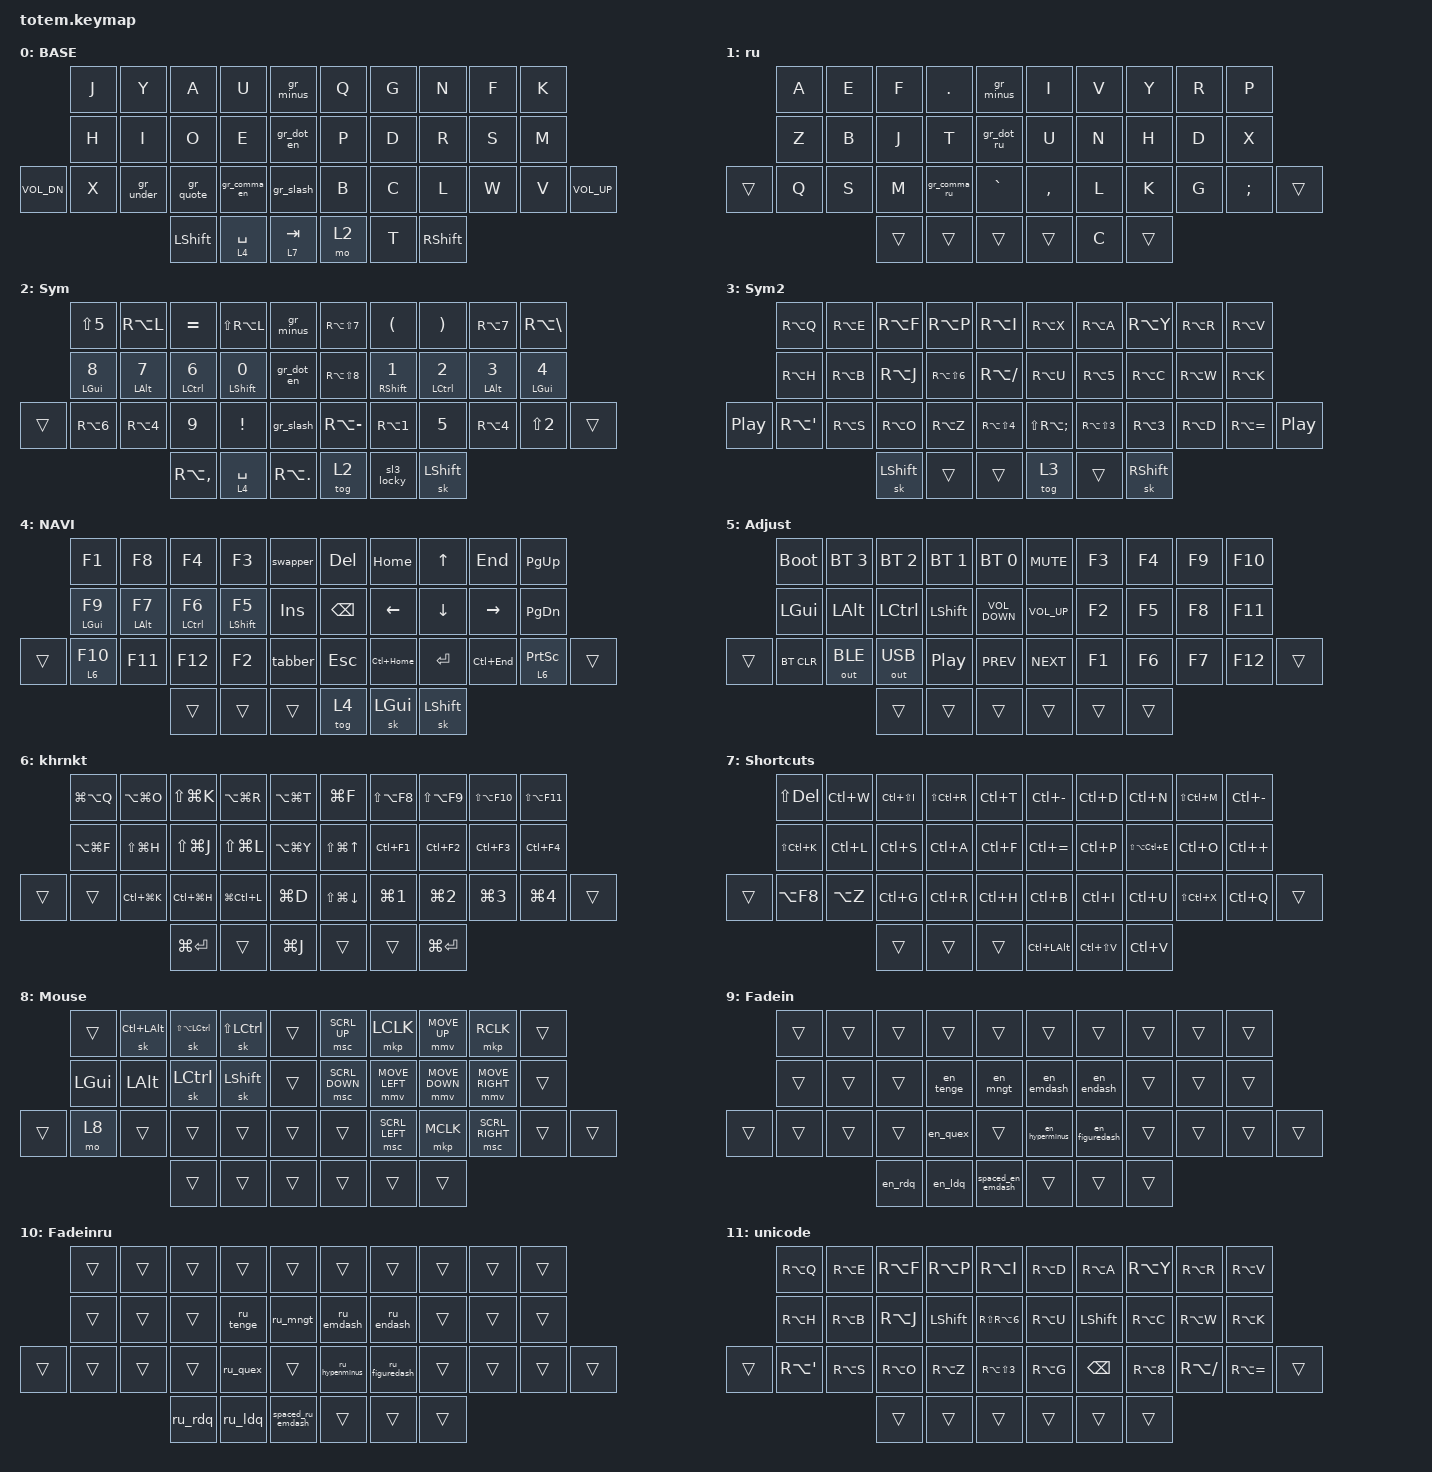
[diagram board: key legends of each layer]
//                                                        █   █  █  █   █  █  █   █  █  █   █
//                                                         ▀▀▀   █   ▀▀▀   █   ▀▀▀   ▀   ▀▀▀
//                                                               █      ▄▄▄█▄▄▄    █   █  
//                                                               ▀      █  █  █     █▄█
//                                                             ▀▀▀▀▀    █  █  █      ▀
//                                                                      ▀  ▀  ▀
//
// ▄▄▄▄▄▄▄▄▄▄▄▄▄▄▄▄▄▄▄▄▄▄▄▄▄▄▄▄▄▄▄▄▄▄▄▄▄▄▄▄▄▄▄▄▄▄▄▄▄▄▄▄▄▄▄▄▄▄▄▄▄▄▄▄▄▄▄▄▄▄▄▄▄▄▄▄▄▄▄▄▄▄▄▄▄▄▄▄▄▄▄▄▄▄▄▄▄▄▄▄▄▄▄▄▄▄▄▄▄▄▄▄▄▄▄▄▄▄▄▄▄▄▄▄▄▄▄▄▄▄▄▄▄▄▄▄▄▄▄▄▄▄▄▄▄▄▄▄▄

#include <behaviors.dtsi>
#include <dt-bindings/zmk/bt.h>
#include <dt-bindings/zmk/keys.h>
#include <dt-bindings/zmk/outputs.h>
#include <dt-bindings/zmk/pointing.h>

#define BASE 0
#define NAV  1
#define SYM  2
#define ADJ  3
#define TVP1 4
#define TVP2 5

&mt {
    quick-tap-ms = <100>;
    global-quick-tap;
    flavor = "tap-preferred";
    tapping-term-ms = <170>;
};

/ {
    behaviors {
        rus_caps_word: rus_caps_word {
            compatible = "zmk,behavior-russian-capsword";
            #binding-cells = <0>;
            continue-list = <MINUS BACKSPACE DELETE>;
        };

        swapper: swapper {
            compatible = "zmk,behavior-tri-state";
            label = "SWAPPER";
            #binding-cells = <0>;
            bindings = <&kt LALT>, <&kp TAB>, <&kt LALT>;

            ignored-key-positions = <17>, <7>, <37>;
        };

        tabber: tabber {
            compatible = "zmk,behavior-tri-state";
            label = "TABBER";
            #binding-cells = <0>;
            bindings = <&kt LCTL>, <&kp TAB>, <&kt LCTL>;

            ignored-key-positions = <17>, <7>, <37>;
        };

        hml: hrm_left {
            compatible = "zmk,behavior-hold-tap";
            bindings = <&kp>, <&kp>;

            #binding-cells = <2>;
            tapping-term-ms = <170>;
            quick-tap-ms = <125>;
            require-prior-idle-ms = <150>;
            flavor = "balanced";
            hold-trigger-on-release;
            hold-trigger-key-positions = <5 6 7 8 9 31 30 19 18 17 28 16 15 29 27 26 37 36 35>;
        };

        hmr: hrm_right {
            compatible = "zmk,behavior-hold-tap";
            bindings = <&kp>, <&kp>;

            #binding-cells = <2>;
            tapping-term-ms = <170>;
            quick-tap-ms = <125>;
            require-prior-idle-ms = <150>;
            flavor = "balanced";
            hold-trigger-on-release;
            hold-trigger-key-positions = <20 10 22 23 25 24 21 32 33 34 14 13 12 11 0 1 2 3 4>;
        };

        arc_en_left: arc_en_left {
            compatible = "zmk,behavior-adaptive-key";
            #binding-cells = <0>;
            bindings = <&key_repeat>;

            akt_zr {
                trigger-keys = <Z>;
                max-prior-idle-ms = <1000>;
                bindings = <&kp R>;
            };

            akt_jj {
                trigger-keys = <J>;
                max-prior-idle-ms = <1000>;
                bindings = <&kp J>;
            };

            akt_yy {
                trigger-keys = <Y>;
                max-prior-idle-ms = <1000>;
                bindings = <&kp Y>;
            };

            akt_aa {
                trigger-keys = <A>;
                max-prior-idle-ms = <1000>;
                bindings = <&kp A>;
            };

            akt_uu {
                trigger-keys = <U>;
                max-prior-idle-ms = <1000>;
                bindings = <&kp U>;
            };

            akt_mnmn {
                trigger-keys = <MINUS>;
                max-prior-idle-ms = <1000>;
                bindings = <&kp MINUS>;
            };

            akt_lprn {
                trigger-keys = <LPAR>;
                max-prior-idle-ms = <1000>;
                bindings = <&kp LPAR>;
            };

            akt_qu {
                trigger-keys = <Q>;
                max-prior-idle-ms = <1000>;
                bindings = <&kp U>;
            };

            akt_lbrb {
                trigger-keys = <LBKT>;
                max-prior-idle-ms = <1000>;
                bindings = <&kp RBKT>;
            };

            akt_tr {
                trigger-keys = <T>;
                max-prior-idle-ms = <1000>;
                bindings = <&kp R>;
            };

            akt_gh {
                trigger-keys = <G>;
                max-prior-idle-ms = <1000>;
                bindings = <&kp H>;
            };

            akt_nl {
                trigger-keys = <N>;
                max-prior-idle-ms = <1000>;
                bindings = <&kp L>;
            };

            akt_fw {
                trigger-keys = <F>;
                max-prior-idle-ms = <1000>;
                bindings = <&kp W>;
            };

            akt_king {
                trigger-keys = <K>;
                max-prior-idle-ms = <1000>;
                bindings = <&ing>;
            };

            akt_hh {
                trigger-keys = <H>;
                max-prior-idle-ms = <1000>;
                bindings = <&kp H>;
            };

            akt_ii {
                trigger-keys = <I>;
                max-prior-idle-ms = <1000>;
                bindings = <&kp I>;
            };

            akt_oo {
                trigger-keys = <O>;
                max-prior-idle-ms = <1000>;
                bindings = <&kp O>;
            };

            akt_ee {
                trigger-keys = <E>;
                max-prior-idle-ms = <1000>;
                bindings = <&kp E>;
            };

            akt_dotdot {
                trigger-keys = <DOT>;
                max-prior-idle-ms = <1000>;
                bindings = <&kp DOT>;
            };

            akt_scsc {
                trigger-keys = <SEMICOLON>;
                max-prior-idle-ms = <1000>;
                bindings = <&kp SEMICOLON>;
            };

            akt_pb {
                trigger-keys = <P>;
                max-prior-idle-ms = <1000>;
                bindings = <&kp B>;
            };

            akt_dg {
                trigger-keys = <D>;
                max-prior-idle-ms = <1000>;
                bindings = <&kp G>;
            };

            akt_rn {
                trigger-keys = <R>;
                max-prior-idle-ms = <1000>;
                bindings = <&kp N>;
            };

            akt_sw {
                trigger-keys = <S>;
                max-prior-idle-ms = <1000>;
                bindings = <&kp W>;
            };

            akt_mv {
                trigger-keys = <M>;
                max-prior-idle-ms = <1000>;
                bindings = <&kp V>;
            };

            akt_xh {
                trigger-keys = <X>;
                max-prior-idle-ms = <1000>;
                bindings = <&kp H>;
            };

            akt_br {
                trigger-keys = <B>;
                max-prior-idle-ms = <1000>;
                bindings = <&kp R>;
            };

            akt_ck {
                trigger-keys = <C>;
                max-prior-idle-ms = <1000>;
                bindings = <&kp K>;
            };

            akt_ln {
                trigger-keys = <L>;
                max-prior-idle-ms = <1000>;
                bindings = <&kp N>;
            };

            akt_ws {
                trigger-keys = <W>;
                max-prior-idle-ms = <1000>;
                bindings = <&kp S>;
            };

            akt_vm {
                trigger-keys = <V>;
                max-prior-idle-ms = <1000>;
                bindings = <&kp M>;
            };
        };

        arc_ru_left: arc_ru_left {
            compatible = "zmk,behavior-adaptive-key";
            #binding-cells = <0>;
            bindings = <&key_repeat>;

            akt_yaya {
                trigger-keys = <Z>;
                max-prior-idle-ms = <1000>;
                bindings = <&kp Z>;
            };

            akt_gd {
                trigger-keys = <U>;
                max-prior-idle-ms = <1000>;
                bindings = <&kp L>;
            };

            akt_oo {
                trigger-keys = <J>;
                max-prior-idle-ms = <1000>;
                bindings = <&kp J>;
            };

            akt_nr {
                trigger-keys = <Y>;
                max-prior-idle-ms = <1000>;
                bindings = <&kp R>;
            };

            akt_ff {
                trigger-keys = <A>;
                max-prior-idle-ms = <1000>;
                bindings = <&kp A>;
            };

            akt_apap {
                trigger-keys = <APOS>;
                max-prior-idle-ms = <1000>;
                bindings = <&kp APOS>;
            };

            akt_mnmn {
                trigger-keys = <MINUS>;
                max-prior-idle-ms = <1000>;
                bindings = <&kp MINUS>;
            };

            akt_lprn {
                trigger-keys = <LPAR>;
                max-prior-idle-ms = <1000>;
                bindings = <&kp LPRN>;
            };

            akt_yy {
                trigger-keys = <Q>;
                max-prior-idle-ms = <1000>;
                bindings = <&kp Q>;
            };

            akt_khr {
                trigger-keys = <LBKT>;
                max-prior-idle-ms = <1000>;
                bindings = <&kp H>;
            };

            akt_ee {
                trigger-keys = <T>;
                max-prior-idle-ms = <1000>;
                bindings = <&kp T>;
            };

            akt_pn {
                trigger-keys = <G>;
                max-prior-idle-ms = <1000>;
                bindings = <&kp Y>;
            };

            akt_tm {
                trigger-keys = <N>;
                max-prior-idle-ms = <1000>;
                bindings = <&kp V>;
            };

            akt_aa {
                trigger-keys = <F>;
                max-prior-idle-ms = <1000>;
                bindings = <&kp F>;
            };

            akt_ln {
                trigger-keys = <K>;
                max-prior-idle-ms = <1000>;
                bindings = <&kp Y>;
            };

            akt_rn {
                trigger-keys = <H>;
                max-prior-idle-ms = <1000>;
                bindings = <&kp Y>;
            };

            akt_sht {
                trigger-keys = <I>;
                max-prior-idle-ms = <1000>;
                bindings = <&kp N>;
            };

            akt_schn {
                trigger-keys = <O>;
                max-prior-idle-ms = <1000>;
                bindings = <&kp Y>;
            };

            akt_uu {
                trigger-keys = <E>;
                max-prior-idle-ms = <1000>;
                bindings = <&kp E>;
            };

            akt_dotdot {
                trigger-keys = <SLASH>;
                max-prior-idle-ms = <1000>;
                bindings = <&kp SLASH>;
            };

            akt_yuyu {
                trigger-keys = <DOT>;
                max-prior-idle-ms = <1000>;
                bindings = <&kp DOT>;
            };

            akt_zhch {
                trigger-keys = <SEMICOLON>;
                max-prior-idle-ms = <1000>;
                bindings = <&kp X>;
            };

            akt_zzh {
                trigger-keys = <P>;
                max-prior-idle-ms = <1000>;
                bindings = <&kp SEMICOLON>;
            };

            akt_vk {
                trigger-keys = <D>;
                max-prior-idle-ms = <1000>;
                bindings = <&kp R>;
            };

            akt_kp {
                trigger-keys = <R>;
                max-prior-idle-ms = <1000>;
                bindings = <&kp G>;
            };

            akt_yiyi {
                trigger-keys = <S>;
                max-prior-idle-ms = <1000>;
                bindings = <&kp S>;
            };

            akt__ {
                trigger-keys = <M>;
                max-prior-idle-ms = <1000>;
                bindings = <&kp M>;
            };

            akt_chzh {
                trigger-keys = <X>;
                max-prior-idle-ms = <1000>;
                bindings = <&kp SEMICOLON>;
            };

            akt_bsch {
                trigger-keys = <COMMA>;
                max-prior-idle-ms = <1000>;
                bindings = <&kp O>;
            };

            akt_ii {
                trigger-keys = <B>;
                max-prior-idle-ms = <1000>;
                bindings = <&kp B>;
            };

            akt_st {
                trigger-keys = <C>;
                max-prior-idle-ms = <1000>;
                bindings = <&kp N>;
            };

            akt_dn {
                trigger-keys = <L>;
                max-prior-idle-ms = <1000>;
                bindings = <&kp Y>;
            };

            akt_tzm {
                trigger-keys = <W>;
                max-prior-idle-ms = <1000>;
                bindings = <&kp V>;
            };

            akt_mb {
                trigger-keys = <V>;
                max-prior-idle-ms = <1000>;
                bindings = <&kp COMMA>;
            };
        };

        arc_en_right: arc_en_right {
            compatible = "zmk,behavior-adaptive-key";
            #binding-cells = <0>;
            bindings = <&key_repeat>;

            akt_zz {
                trigger-keys = <Z>;
                max-prior-idle-ms = <1000>;
                bindings = <&kp Z>;
            };

            akt_ju {
                trigger-keys = <J>;
                max-prior-idle-ms = <1000>;
                bindings = <&kp U>;
            };

            akt_yi {
                trigger-keys = <Y>;
                max-prior-idle-ms = <1000>;
                bindings = <&kp I>;
            };

            akt_ao {
                trigger-keys = <A>;
                max-prior-idle-ms = <1000>;
                bindings = <&kp O>;
            };

            akt_ue {
                trigger-keys = <U>;
                max-prior-idle-ms = <1000>;
                bindings = <&kp E>;
            };

            akt_mngt {
                trigger-keys = <MINUS>;
                max-prior-idle-ms = <1000>;
                bindings = <&kp GT>;
            };

            akt_lprn {
                trigger-keys = <LPAR>;
                max-prior-idle-ms = <1000>;
                bindings = <&kp RPAR>;
            };

            akt_qq {
                trigger-keys = <Q>;
                max-prior-idle-ms = <1000>;
                bindings = <&kp Q>;
            };

            akt_lblb {
                trigger-keys = <LBKT>;
                max-prior-idle-ms = <1000>;
                bindings = <&kp LBKT>;
            };

            akt_th {
                trigger-keys = <T>;
                max-prior-idle-ms = <1000>;
                bindings = <&kp H>;
            };

            akt_gg {
                trigger-keys = <G>;
                max-prior-idle-ms = <1000>;
                bindings = <&kp G>;
            };

            akt_nn {
                trigger-keys = <N>;
                max-prior-idle-ms = <1000>;
                bindings = <&kp N>;
            };

            akt_ff {
                trigger-keys = <F>;
                max-prior-idle-ms = <1000>;
                bindings = <&kp F>;
            };

            akt_kk {
                trigger-keys = <K>;
                max-prior-idle-ms = <1000>;
                bindings = <&kp K>;
            };

            akt_hy {
                trigger-keys = <H>;
                max-prior-idle-ms = <1000>;
                bindings = <&kp Y>;
            };

            akt_iy {
                trigger-keys = <I>;
                max-prior-idle-ms = <1000>;
                bindings = <&kp Y>;
            };

            akt_oa {
                trigger-keys = <O>;
                max-prior-idle-ms = <1000>;
                bindings = <&kp A>;
            };

            akt_eu {
                trigger-keys = <E>;
                max-prior-idle-ms = <1000>;
                bindings = <&kp U>;
            };

            akt_dotsp {
                trigger-keys = <DOT>;
                max-prior-idle-ms = <1000>;
                bindings = <&sp_shift>;
            };

            akt_sclp {
                trigger-keys = <SEMICOLON>;
                max-prior-idle-ms = <1000>;
                bindings = <&kp RPAR>;
            };

            akt_pp {
                trigger-keys = <P>;
                max-prior-idle-ms = <1000>;
                bindings = <&kp P>;
            };

            akt_dd {
                trigger-keys = <D>;
                max-prior-idle-ms = <1000>;
                bindings = <&kp D>;
            };

            akt_rr {
                trigger-keys = <R>;
                max-prior-idle-ms = <1000>;
                bindings = <&kp R>;
            };

            akt_ss {
                trigger-keys = <S>;
                max-prior-idle-ms = <1000>;
                bindings = <&kp S>;
            };

            akt_mm {
                trigger-keys = <M>;
                max-prior-idle-ms = <1000>;
                bindings = <&kp M>;
            };

            akt_xh {
                trigger-keys = <X>;
                max-prior-idle-ms = <1000>;
                bindings = <&kp H>;
            };

            akt_bb {
                trigger-keys = <B>;
                max-prior-idle-ms = <1000>;
                bindings = <&kp B>;
            };

            akt_cc {
                trigger-keys = <C>;
                max-prior-idle-ms = <1000>;
                bindings = <&kp C>;
            };

            akt_ll {
                trigger-keys = <L>;
                max-prior-idle-ms = <1000>;
                bindings = <&kp L>;
            };

            akt_ww {
                trigger-keys = <W>;
                max-prior-idle-ms = <1000>;
                bindings = <&kp W>;
            };

            akt_vv {
                trigger-keys = <V>;
                max-prior-idle-ms = <1000>;
                bindings = <&kp V>;
            };
        };

        arc_ru_right: arc_ru_right {
            compatible = "zmk,behavior-adaptive-key";
            #binding-cells = <0>;
            bindings = <&key_repeat>;

            akt_yay {
                trigger-keys = <Z>;
                max-prior-idle-ms = <1000>;
                bindings = <&kp Q>;
            };

            akt_oa {
                trigger-keys = <J>;
                max-prior-idle-ms = <1000>;
                bindings = <&kp F>;
            };

            akt_nn {
                trigger-keys = <Y>;
                max-prior-idle-ms = <1000>;
                bindings = <&kp Y>;
            };

            akt_fya {
                trigger-keys = <A>;
                max-prior-idle-ms = <1000>;
                bindings = <&kp Z>;
            };

            akt_apa {
                trigger-keys = <APOS>;
                max-prior-idle-ms = <1000>;
                bindings = <&kp F>;
            };

            akt_mnsp {
                trigger-keys = <MINUS>;
                max-prior-idle-ms = <1000>;
                bindings = <&kp SPACE>;
            };

            akt_lprn {
                trigger-keys = <LPAR>;
                max-prior-idle-ms = <1000>;
                bindings = <&kp RPAR>;
            };

            akt_yf {
                trigger-keys = <Q>;
                max-prior-idle-ms = <1000>;
                bindings = <&kp A>;
            };

            akt_khkh {
                trigger-keys = <LBKT>;
                max-prior-idle-ms = <1000>;
                bindings = <&kp LBKT>;
            };

            akt_edot {
                trigger-keys = <T>;
                max-prior-idle-ms = <1000>;
                bindings = <&kp SLASH>;
            };

            akt_pp {
                trigger-keys = <G>;
                max-prior-idle-ms = <1000>;
                bindings = <&kp G>;
            };

            akt_tt {
                trigger-keys = <N>;
                max-prior-idle-ms = <1000>;
                bindings = <&kp N>;
            };

            akt_ao {
                trigger-keys = <F>;
                max-prior-idle-ms = <1000>;
                bindings = <&kp J>;
            };

            akt_ll {
                trigger-keys = <K>;
                max-prior-idle-ms = <1000>;
                bindings = <&kp K>;
            };

            akt_rr {
                trigger-keys = <H>;
                max-prior-idle-ms = <1000>;
                bindings = <&kp H>;
            };

            akt_shsh {
                trigger-keys = <I>;
                max-prior-idle-ms = <1000>;
                bindings = <&kp I>;
            };

            akt_schn {
                trigger-keys = <O>;
                max-prior-idle-ms = <1000>;
                bindings = <&kp Y>;
            };

            akt_ui {
                trigger-keys = <E>;
                max-prior-idle-ms = <1000>;
                bindings = <&kp B>;
            };

            akt_dotsp {
                trigger-keys = <SLASH>;
                max-prior-idle-ms = <1000>;
                bindings = <&sp_shift>;
            };

            akt_yuzp {
                trigger-keys = <DOT>;
                max-prior-idle-ms = <1000>;
                bindings = <&comma_sp_ru>;
            };

            akt_zhzh {
                trigger-keys = <SEMICOLON>;
                max-prior-idle-ms = <1000>;
                bindings = <&kp SEMICOLON>;
            };

            akt_zz {
                trigger-keys = <P>;
                max-prior-idle-ms = <1000>;
                bindings = <&kp P>;
            };

            akt_vv {
                trigger-keys = <D>;
                max-prior-idle-ms = <1000>;
                bindings = <&kp D>;
            };

            akt_kk {
                trigger-keys = <R>;
                max-prior-idle-ms = <1000>;
                bindings = <&kp R>;
            };

            akt_yii {
                trigger-keys = <S>;
                max-prior-idle-ms = <1000>;
                bindings = <&kp B>;
            };

            akt__yiyu {
                trigger-keys = <M>;
                max-prior-idle-ms = <1000>;
                bindings = <&kp DOT>;
            };

            akt_chch {
                trigger-keys = <X>;
                max-prior-idle-ms = <1000>;
                bindings = <&kp X>;
            };

            akt_bb {
                trigger-keys = <COMMA>;
                max-prior-idle-ms = <1000>;
                bindings = <&kp COMMA>;
            };

            akt_iu {
                trigger-keys = <B>;
                max-prior-idle-ms = <1000>;
                bindings = <&kp E>;
            };

            akt_st {
                trigger-keys = <C>;
                max-prior-idle-ms = <1000>;
                bindings = <&kp T>;
            };

            akt_dd {
                trigger-keys = <L>;
                max-prior-idle-ms = <1000>;
                bindings = <&kp L>;
            };

            akt_tztz {
                trigger-keys = <W>;
                max-prior-idle-ms = <1000>;
                bindings = <&kp W>;
            };

            akt_mm {
                trigger-keys = <V>;
                max-prior-idle-ms = <1000>;
                bindings = <&kp V>;
            };
        };

        arcane_left_en: arcane_left_en {
            compatible = "zmk,behavior-hold-tap";
            label = "ARCANE_LEFT_EN";
            bindings = <&kp>, <&arc_en_left>;

            #binding-cells = <2>;
            tapping-term-ms = <200>;
            flavor = "balanced";
        };

        arcane_left_ru: arcane_left_ru {
            compatible = "zmk,behavior-hold-tap";
            label = "ARCANE_LEFT_RU";
            bindings = <&kp>, <&arc_ru_left>;

            #binding-cells = <2>;
            tapping-term-ms = <200>;
            flavor = "balanced";
        };

        arcane_right_en: arcane_right_en {
            compatible = "zmk,behavior-hold-tap";
            label = "ARCANE_RIGHT_EN";
            bindings = <&kp>, <&arc_en_right>;

            #binding-cells = <2>;
            tapping-term-ms = <200>;
            flavor = "balanced";
        };

        arcane_right_ru: arcane_right_ru {
            compatible = "zmk,behavior-hold-tap";
            label = "ARCANE_RIGHT_RU";
            bindings = <&kp>, <&arc_ru_right>;

            #binding-cells = <2>;
            tapping-term-ms = <200>;
            flavor = "balanced";
        };

        layer_sft: layer_sft {
            compatible = "zmk,behavior-hold-tap";
            label = "LAYER_SFT";
            bindings = <&mo>, <&sk>;

            #binding-cells = <2>;
            tapping-term-ms = <200>;
        };

        gr_dot_en: gr_dot_en {
            compatible = "zmk,behavior-mod-morph";
            label = "GR_DOT_EN";
            bindings = <&kp RA(LS(C))>, <&kp RA(LS(SQT))>;

            #binding-cells = <0>;
            mods = <(MOD_LSFT|MOD_RSFT)>;
        };

        gr_dot_ru: gr_dot_ru {
            compatible = "zmk,behavior-mod-morph";
            label = "GR_DOT_RU";
            bindings = <&kp SLASH>, <&gm_dot_space_shift>;

            #binding-cells = <0>;
            mods = <(MOD_LSFT|MOD_RSFT)>;
        };

        gr_comma_en: gr_comma_en {
            compatible = "zmk,behavior-mod-morph";
            label = "GR_COMMA_EN";
            bindings = <&gm_commaspace_en>, <&kp RA(LS(N5))>;

            #binding-cells = <0>;
            mods = <(MOD_LSFT|MOD_RSFT)>;
        };

        gr_comma_ru: gr_comma_ru {
            compatible = "zmk,behavior-mod-morph";
            label = "GR_COMMA_RU";
            bindings = <&gm_commaspace_ru>, <&kp RA(LS(N5))>;

            #binding-cells = <0>;
            mods = <(MOD_LSFT|MOD_RSFT)>;
        };

        gr_minus: gr_minus {
            compatible = "zmk,behavior-mod-morph";
            label = "GR_MINUS";
            bindings = <&kp MINUS>, <&kp KP_PLUS>;

            #binding-cells = <0>;
            mods = <(MOD_LSFT|MOD_RSFT)>;
        };

        gr_slash: gr_slash {
            compatible = "zmk,behavior-mod-morph";
            label = "GR_SLASH";
            bindings = <&kp RA(LS(BACKSLASH))>, <&kp ASTERISK>;

            #binding-cells = <0>;
            mods = <(MOD_LSFT|MOD_RSFT)>;
        };

        gr_quote: gr_quote {
            compatible = "zmk,behavior-mod-morph";
            label = "GR_QUOTE";
            bindings = <&kp RA(NUMBER_2)>, <&kp RA(GRAVE)>;

            #binding-cells = <0>;
            mods = <(MOD_LSFT|MOD_RSFT)>;
        };

        gr_under: gr_under {
            compatible = "zmk,behavior-mod-morph";
            label = "GR_UNDER";
            bindings = <&kp UNDERSCORE>, <&kp BSLH>;

            #binding-cells = <0>;
            mods = <(MOD_LSFT|MOD_RSFT)>;
        };

        gr_sqp: gr_sqp {
            compatible = "zmk,behavior-mod-morph";
            label = "GR_SQP";
            bindings = <&kp RA(LEFT_BRACKET)>, <&kp RA(RIGHT_BRACKET)>;

            #binding-cells = <0>;
            mods = <(MOD_LSFT|MOD_RSFT)>;
        };

        line_down_ctrl: line_down_ctrl {
            compatible = "zmk,behavior-hold-tap";
            label = "LINE_DOWN_CTRL";
            bindings = <&kp>, <&new_line_down>;

            #binding-cells = <2>;
            flavor = "balanced";
            tapping-term-ms = <170>;
            quick-tap-ms = <125>;
            require-prior-idle-ms = <150>;
        };

        cut_string_alt: cut_string_alt {
            compatible = "zmk,behavior-hold-tap";
            label = "CUT_STRING_ALT";
            bindings = <&kp>, <&cut_string>;

            #binding-cells = <2>;
            tapping-term-ms = <170>;
            quick-tap-ms = <125>;
            require-prior-idle-ms = <150>;
            flavor = "balanced";
        };

        smc_comma: smc_comma {
            compatible = "zmk,behavior-mod-morph";
            label = "SMC_COMMA";
            bindings = <&kp RA(LS(N8))>, <&kp RA(LS(NUMBER_5))>;

            #binding-cells = <0>;
            mods = <(MOD_LSFT|MOD_RSFT)>;
        };

        sl2_locky: sl2_locky {
            compatible = "zmk,behavior-tap-dance";
            label = "SL2_LOCKY";
            #binding-cells = <0>;
            bindings = <&sl 2>, <&tog 2>;

            tapping-term-ms = <300>;
        };

        sl3_locky: sl3_locky {
            compatible = "zmk,behavior-tap-dance";
            label = "SL3_LOCKY";
            #binding-cells = <0>;
            bindings = <&sl 3>, <&tog 3>;

            tapping-term-ms = <300>;
        };
    };

    combos {
        compatible = "zmk,combos";

        kha {
            bindings = <&kp RA(LBKT)>;
            key-positions = <6 7>;
            layers = <0 3 2>;
        };

        hrdsgn {
            bindings = <&kp RA(RBKT)>;
            key-positions = <7 8>;
            layers = <0 3 2>;
        };

        TO_RU {
            bindings = <&KB_RU>;
            key-positions = <28 29>;
            layers = <0>;
        };

        TO_EN {
            bindings = <&KB_EN>;
            key-positions = <28 29>;
            layers = <1>;
        };

        z {
            bindings = <&kp Z>;
            key-positions = <16 17>;
            layers = <0>;
        };

        undr {
            bindings = <&gr_under>;
            key-positions = <13 14>;
            layers = <1>;
        };

        rusinch {
            bindings = <&gr_quote>;
            key-positions = <7 8>;
            layers = <1>;
        };

        to_sym2 {
            bindings = <&mo 3>;
            key-positions = <32 33>;
            layers = <0 1 2>;
        };

        th_gui {
            bindings = <&sk LEFT_GUI>;
            key-positions = <33 34>;
            layers = <0 1 2>;
        };

        en_lbr {
            bindings = <&kp LEFT_BRACE>;
            key-positions = <16 6>;
            layers = <0 3 2>;
        };

        en_rbr {
            bindings = <&kp RIGHT_BRACE>;
            key-positions = <17 7>;
            layers = <0 3 2>;
        };

        ru_rbrc {
            bindings = <&kp RA(LEFT_BRACKET)>;
            key-positions = <17 7>;
            layers = <1>;
        };

        ru_lbrc {
            bindings = <&kp RA(RIGHT_BRACKET)>;
            key-positions = <16 6>;
            layers = <1>;
        };

        ru_tz {
            bindings = <&kp W>;
            key-positions = <16 17>;
            layers = <1>;
        };

        ru_sl {
            bindings = <&gr_slash>;
            key-positions = <24 25>;
            layers = <1>;
        };

        c_s {
            bindings = <&kp LC(S)>;
            key-positions = <13 12>;
        };

        c_c {
            bindings = <&kp LC(C)>;
            key-positions = <13 3>;
        };

        c_x {
            bindings = <&kp LC(X)>;
            key-positions = <14 4>;
        };

        c_v {
            bindings = <&kp LC(V)>;
            key-positions = <12 2>;
        };

        kh {
            bindings = <&kp LEFT_BRACKET>;
            key-positions = <6 7>;
            layers = <1>;
        };

        c_z {
            bindings = <&kp LC(Z)>;
            key-positions = <23 24>;
        };

        cs_z {
            bindings = <&kp LS(LC(Z))>;
            key-positions = <22 23>;
        };

        rth_ctrl {
            bindings = <&kp LCTRL>;
            key-positions = <35 36>;
            layers = <0 1 4>;
        };

        rth_alt {
            bindings = <&kp LALT>;
            key-positions = <37 36>;
            layers = <0 1 4>;
        };

        ye {
            bindings = <&kp SQT>;
            key-positions = <3 2>;
            layers = <1>;
        };

        ru_sch {
            bindings = <&kp RIGHT_BRACKET>;
            key-positions = <17 18>;
            layers = <1>;
        };

        ru_sch2 {
            bindings = <&kp O>;
            key-positions = <27 28>;
            layers = <1>;
        };

        mrck2 {
            bindings = <&mkp RCLK>;
            key-positions = <12 23>;
        };

        mmck {
            bindings = <&mkp MCLK>;
            key-positions = <12 24>;
        };

        mlcck {
            bindings = <&mkp LCLK>;
            key-positions = <24 13>;
        };

        CtrlEnter {
            bindings = <&kp LC(ENTER)>;
            key-positions = <27 28 29>;
            layers = <4>;
        };

        Ralt1 {
            bindings = <&kp RALT>;
            key-positions = <14 25>;
        };

        Ralt2 {
            bindings = <&kp RALT>;
            key-positions = <15 26>;
        };

        not_equal {
            bindings = <&not_equal_macro>;
            key-positions = <5 15>;
        };

        fadein_en {
            bindings = <&sl 9>;
            key-positions = <26 27>;
            layers = <0>;
        };

        fadein_ru {
            bindings = <&sl 10>;
            key-positions = <26 27>;
        };

        ShiftEnter {
            bindings = <&kp LC(ENTER)>;
            key-positions = <27 28>;
            layers = <4>;
        };

        cpswrd {
            bindings = <&caps_word>;
            key-positions = <35 34>;
            layers = <0>;
        };

        cpswrd_ru {
            bindings = <&rus_caps_word>;
            key-positions = <35 34>;
            layers = <1>;
        };

        paste_text {
            bindings = <&kp LS(LC(LA(V)))>;
            key-positions = <2 12>;
            layers = <7>;
        };

        m23 {
            bindings = <&p23>;
            key-positions = <17 18>;
            layers = <2>;
        };

        ctrl-up {
            bindings = <&kp LC(UP)>;
            key-positions = <7 17>;
            layers = <4>;
        };

        ctrl-down {
            bindings = <&kp LC(DOWN)>;
            key-positions = <17 28>;
            layers = <4>;
        };

        ctrl-left {
            bindings = <&kp LC(LEFT)>;
            key-positions = <16 17>;
            layers = <4>;
        };

        ctrl-right {
            bindings = <&kp LC(RIGHT_ARROW)>;
            key-positions = <17 18>;
            layers = <4>;
        };

        ctrl-bksp {
            bindings = <&kp LC(BACKSPACE)>;
            key-positions = <15 16>;
            layers = <4>;
        };

        to_adj_l {
            bindings = <&mo 5>;
            key-positions = <10 11>;
        };

        to_adj_r {
            bindings = <&mo 5>;
            key-positions = <18 19>;
        };

        sym_astr {
            bindings = <&kp ASTERISK>;
            key-positions = <16 17>;
            layers = <2>;
        };

        sym_tilde {
            bindings = <&kp LS(RA(GRAVE))>;
            key-positions = <15 16>;
            layers = <2>;
        };

        sym_bslsh {
            bindings = <&kp BACKSLASH>;
            key-positions = <27 28>;
            layers = <2>;
        };

        sym_plus {
            bindings = <&kp PLUS>;
            key-positions = <2 3>;
            layers = <2>;
        };

        sym_comma {
            bindings = <&kp RA(LS(N5))>;
            key-positions = <12 13>;
            layers = <2>;
        };

        sym_gr {
            bindings = <&kp RA(GRAVE)>;
            key-positions = <13 14>;
            layers = <2>;
        };
    };

    macros {
        KB_EN: KB_EN {
            compatible = "zmk,behavior-macro";
            #binding-cells = <0>;
            bindings =
                <&kp LC(LA(NUMBER_6))>,
                <&macro_wait_time 25>,
                <&to 0>,
                <&macro_wait_time 25>;

            label = "KB_EN";
        };

        KB_RU: KB_RU {
            compatible = "zmk,behavior-macro";
            #binding-cells = <0>;
            bindings =
                <&kp LC(LA(N7))>,
                <&macro_wait_time 25>,
                <&to 1>,
                <&macro_wait_time 25>;

            label = "KB_RU";
        };

        gm_commaspace_en: dotspace_en {
            compatible = "zmk,behavior-macro";
            #binding-cells = <0>;
            bindings = <&kp COMMA &kp SPACE>;
            label = "DOTSPACE_EN";
        };

        gm_commaspace_ru: dotspace_ru {
            compatible = "zmk,behavior-macro";
            #binding-cells = <0>;
            bindings = <&kp QUESTION &kp SPACE>;
            label = "DOTSPACE_RU";
        };

        ru_emdash: ru_emdash {
            compatible = "zmk,behavior-macro";
            #binding-cells = <0>;
            bindings =
                <&KB_EN>,
                <&macro_wait_time 30>,
                <&kp LS(LC(U))>,
                <&macro_wait_time 10>,
                <&kp N2 &kp N0 &kp N1 &kp N4 &kp ENTER>,
                <&macro_wait_time 30>,
                <&KB_RU>;

            label = "RU_EMDASH";
        };

        en_emdash: en_emdash {
            compatible = "zmk,behavior-macro";
            #binding-cells = <0>;
            bindings =
                <&kp LS(LC(U))>,
                <&macro_wait_time 10>,
                <&kp N2 &kp N0 &kp N1 &kp N4 &kp ENTER>,
                <&macro_wait_time 10>;

            label = "EN_EMDASH";
        };

        en_rdq: en_rdq {
            compatible = "zmk,behavior-macro";
            #binding-cells = <0>;
            bindings =
                <&kp LS(LC(U))>,
                <&macro_wait_time 10>,
                <&kp N0 &kp N0 &kp B &kp B &kp ENTER>,
                <&macro_wait_time 10>;

            label = "EN_RDQ";
        };

        ru_ldq: ru_ldq {
            compatible = "zmk,behavior-macro";
            #binding-cells = <0>;
            bindings =
                <&KB_EN>,
                <&macro_wait_time 10>,
                <&kp LS(LC(U))>,
                <&macro_wait_time 10>,
                <&kp N0 &kp N0 &kp A &kp B &kp ENTER>,
                <&macro_wait_time 10>,
                <&KB_RU>;

            label = "RU_LDQ";
        };

        ru_rdq: ru_rdq {
            compatible = "zmk,behavior-macro";
            #binding-cells = <0>;
            bindings =
                <&KB_EN>,
                <&macro_wait_time 10>,
                <&kp LS(LC(U))>,
                <&macro_wait_time 10>,
                <&kp N0 &kp N0 &kp B &kp B &kp ENTER>,
                <&macro_wait_time 10>,
                <&KB_RU>;

            label = "RU_RDQ";
        };

        en_ldq: en_ldq {
            compatible = "zmk,behavior-macro";
            #binding-cells = <0>;
            bindings =
                <&kp LS(LC(U))>,
                <&macro_wait_time 10>,
                <&kp N0 &kp N0 &kp A &kp B &kp ENTER>,
                <&macro_wait_time 10>;

            label = "EN_LDQ";
        };

        ru_lbr: ru_lbr {
            compatible = "zmk,behavior-macro";
            #binding-cells = <0>;
            bindings =
                <&KB_EN>,
                <&macro_wait_time 10>,
                <&kp LEFT_BRACE>,
                <&macro_wait_time 10>,
                <&KB_RU>;

            label = "RU_LBR";
        };

        ru_rbr: ru_rbr {
            compatible = "zmk,behavior-macro";
            #binding-cells = <0>;
            bindings =
                <&KB_EN>,
                <&macro_wait_time 10>,
                <&kp RIGHT_BRACE>,
                <&macro_wait_time 10>,
                <&KB_RU>;

            label = "RU_RBR";
        };

        en_endash: en_endash {
            compatible = "zmk,behavior-macro";
            #binding-cells = <0>;
            bindings =
                <&kp LS(LC(U))>,
                <&macro_wait_time 10>,
                <&kp NUMBER_2 &kp NUMBER_0 &kp N1 &kp NUMBER_3 &kp ENTER>,
                <&macro_wait_time 10>;

            label = "EN_ENDASH";
        };

        ru_endash: ru_endash {
            compatible = "zmk,behavior-macro";
            #binding-cells = <0>;
            bindings =
                <&KB_EN>,
                <&macro_wait_time 10>,
                <&kp LS(LC(U))>,
                <&macro_wait_time 10>,
                <&kp NUMBER_2 &kp NUMBER_0 &kp N1 &kp NUMBER_3 &kp ENTER>,
                <&macro_wait_time 10>,
                <&KB_RU>;

            label = "RU_ENDASH";
        };

        new_line_down: new_line_down {
            compatible = "zmk,behavior-macro";
            #binding-cells = <0>;
            bindings = <&kp END>, <&macro_wait_time 0>, <&kp LS(ENTER)>;

            label = "NEW_LINE_DOWN";
        };

        new_line_up: new_line_up {
            compatible = "zmk,behavior-macro";
            #binding-cells = <0>;
            bindings = <&kp HOME>, <&macro_wait_time 0>, <&kp LS(ENTER)>;

            label = "NEW_LINE_UP";
        };

        cut_string: cut_string {
            compatible = "zmk,behavior-macro";
            #binding-cells = <0>;
            bindings =
                <&kp HOME>,
                <&macro_wait_time 0>,
                <&kp LS(DOWN)>,
                <&macro_wait_time 0>,
                <&kp LC(X)>;

            label = "CUT_STRING";
        };

        copy_string: copy_string {
            compatible = "zmk,behavior-macro";
            #binding-cells = <0>;
            bindings =
                <&kp HOME>,
                <&macro_wait_time 0>,
                <&kp LS(DOWN)>,
                <&macro_wait_time 0>,
                <&kp LC(C)>;

            label = "COPY_STRING";
        };

        sp_shift: sp_shift {
            compatible = "zmk,behavior-macro";
            #binding-cells = <0>;
            bindings = <&kp SPACE>, <&macro_wait_time 5>, <&sk LEFT_SHIFT>;

            label = "SP_SHIFT";
        };

        comma_sp_ru: comma_sp_ru {
            compatible = "zmk,behavior-macro";
            #binding-cells = <0>;
            bindings = <&kp QUESTION>, <&macro_wait_time 5>, <&kp SPACE>;

            label = "COMMA_SPACE_RU";
        };

        ing: ing {
            compatible = "zmk,behavior-macro";
            #binding-cells = <0>;
            bindings = <&kp I &kp N &kp G>;
            label = "ING";
        };

        ru_hypenminus: ru_hypenminus {
            compatible = "zmk,behavior-macro";
            #binding-cells = <0>;
            bindings =
                <&KB_EN>,
                <&macro_wait_time 30>,
                <&kp LS(LC(U))>,
                <&macro_wait_time 10>,
                <&kp N0 &kp N0 &kp NUMBER_2 &kp D &kp ENTER>,
                <&macro_wait_time 30>,
                <&KB_RU>;

            label = "RU_HYPENMINUS";
        };

        en_hyperminus: en_hyperminus {
            compatible = "zmk,behavior-macro";
            #binding-cells = <0>;
            bindings =
                <&kp LS(LC(U))>,
                <&macro_wait_time 10>,
                <&kp N0 &kp N0 &kp NUMBER_2 &kp D &kp ENTER>,
                <&macro_wait_time 30>;

            label = "EN_HYPERMINUS";
        };

        ru_figuredash: ru_figuredash {
            compatible = "zmk,behavior-macro";
            #binding-cells = <0>;
            bindings =
                <&KB_EN>,
                <&macro_wait_time 30>,
                <&kp LS(LC(U))>,
                <&macro_wait_time 10>,
                <&kp NUMBER_2 &kp N0 &kp NUMBER_1 &kp NUMBER_2 &kp ENTER>,
                <&macro_wait_time 30>,
                <&KB_RU>;

            label = "RU_FIGUREDASH";
        };

        en_figuredash: en_figuredash {
            compatible = "zmk,behavior-macro";
            #binding-cells = <0>;
            bindings =
                <&kp LS(LC(U))>,
                <&macro_wait_time 10>,
                <&kp NUMBER_2 &kp N0 &kp NUMBER_1 &kp NUMBER_2 &kp ENTER>,
                <&macro_wait_time 30>;

            label = "EN_FIGUREDASH";
        };

        ru_tenge: ru_tenge {
            compatible = "zmk,behavior-macro";
            #binding-cells = <0>;
            bindings =
                <&KB_EN>,
                <&macro_wait_time 30>,
                <&kp LS(LC(U))>,
                <&macro_wait_time 10>,
                <&kp NUMBER_2 &kp N0 &kp B &kp N8 &kp ENTER>,
                <&macro_wait_time 30>,
                <&KB_RU>;

            label = "RU_TENGE";
        };

        en_tenge: en_tenge {
            compatible = "zmk,behavior-macro";
            #binding-cells = <0>;
            bindings =
                <&kp LS(LC(U))>,
                <&macro_wait_time 10>,
                <&kp NUMBER_2 &kp N0 &kp B &kp N8 &kp ENTER>,
                <&macro_wait_time 30>;

            label = "EN_TENGE";
        };

        ru_mngt: ru_mngt {
            compatible = "zmk,behavior-macro";
            #binding-cells = <0>;
            bindings =
                <&KB_EN>,
                <&macro_wait_time 30>,
                <&kp LS(LC(U))>,
                <&macro_wait_time 10>,
                <&kp NUMBER_2 &kp N0 &kp NUMBER_2 &kp NUMBER_6 &kp ENTER>,
                <&macro_wait_time 30>,
                <&KB_RU>;

            label = "RU_MNGT";
        };

        en_mngt: en_mngt {
            compatible = "zmk,behavior-macro";
            #binding-cells = <0>;
            bindings =
                <&kp LS(LC(U))>,
                <&macro_wait_time 10>,
                <&kp NUMBER_2 &kp N0 &kp NUMBER_2 &kp NUMBER_6 &kp ENTER>,
                <&macro_wait_time 30>;

            label = "EN_MNGT";
        };

        ru_quex: ru_quex {
            compatible = "zmk,behavior-macro";
            #binding-cells = <0>;
            bindings =
                <&KB_EN>,
                <&macro_wait_time 30>,
                <&kp LS(LC(U))>,
                <&macro_wait_time 10>,
                <&kp NUMBER_2 &kp N0 &kp NUMBER_4 &kp N8 &kp ENTER>,
                <&macro_wait_time 30>,
                <&KB_RU>;

            label = "RU_QUEX";
        };

        en_quex: en_quex {
            compatible = "zmk,behavior-macro";
            #binding-cells = <0>;
            bindings =
                <&kp LS(LC(U))>,
                <&macro_wait_time 10>,
                <&kp NUMBER_2 &kp N0 &kp NUMBER_4 &kp N8 &kp ENTER>,
                <&macro_wait_time 30>;

            label = "EN_QUEX";
        };

        not_equal_macro: not_equal {
            compatible = "zmk,behavior-macro";
            #binding-cells = <0>;
            bindings = <&kp EXCL &kp EQUAL>;
            label = "NOT_EQUAL";
        };

        emdash_spaced: emdash_spaced {
            compatible = "zmk,behavior-macro";
            #binding-cells = <0>;
            bindings = <&kp SPACE &kp RA(MINUS) &kp SPACE>;
            label = "EMDASH_SPACED";
        };

        spaced_ru_emdash: spaced_ru_emdash {
            compatible = "zmk,behavior-macro";
            #binding-cells = <0>;
            bindings =
                <&KB_EN>,
                <&macro_wait_time 50>,
                <&kp SPACE>,
                <&macro_wait_time 5>,
                <&kp LS(LC(U))>,
                <&macro_wait_time 10>,
                <&kp N2 &kp N0 &kp N1 &kp N4 &kp ENTER>,
                <&macro_wait_time 30>,
                <&KB_RU>,
                <&macro_wait_time 5>,
                <&kp SPACE>;

            label = "SPACED_RU_EMDASH";
        };

        spaced_en_emdash: spaced_en_emdash {
            compatible = "zmk,behavior-macro";
            #binding-cells = <0>;
            bindings =
                <&kp SPACE>,
                <&macro_wait_time 10>,
                <&kp LS(LC(U))>,
                <&macro_wait_time 10>,
                <&kp N2 &kp N0 &kp N1 &kp N4 &kp ENTER>,
                <&macro_wait_time 10>,
                <&kp SPACE>;

            label = "SPACED_EN_EMDASH";
        };

        gm_dot_space_shift: gm_dot_space_shift {
            compatible = "zmk,behavior-macro";
            #binding-cells = <0>;
            bindings = <&kp RA(LS(C)) &kp SPACE &sk LSHFT>;
            label = "GM_DOT_SPACE_SHIFT";
        };

        arr_left: arr_left {
            compatible = "zmk,behavior-macro";
            #binding-cells = <0>;
            bindings = <&kp RA(L) &kp MINUS>;
            label = "ARR_LEFT";
        };

        arr_right: arr_right {
            compatible = "zmk,behavior-macro";
            #binding-cells = <0>;
            bindings = <&kp MINUS &kp RA(LS(L))>;
            label = "ARR_RIGHT";
        };

        tag_close: tag_close {
            compatible = "zmk,behavior-macro";
            #binding-cells = <0>;
            bindings = <&kp RA(L) &kp RA(LS(BACKSLASH))>;
            label = "TAG_CLOSE";
        };

        p23: p23 {
            compatible = "zmk,behavior-macro";
            #binding-cells = <0>;
            bindings = <&kp PRCNT &kp N2 &kp N3>;
            label = "P23";
        };
    };

    keymap {
        compatible = "zmk,keymap";

        en_base {
            label = "BASE";
            bindings = <
              &kp J  &kp Y      &kp A      &kp U         &gr_minus     &kp Q  &kp G  &kp N      &kp F  &kp K
              &kp H  &kp I      &kp O      &kp E         &gr_dot_en    &kp P  &kp D  &kp R      &kp S  &kp M
&kp C_VOL_DN  &kp X  &gr_under  &gr_quote  &gr_comma_en  &gr_slash     &kp B  &kp C  &kp L      &kp W  &kp V  &kp C_VOLUME_UP
                                &kp LSHFT  &lt 4 SPACE   &lt 7 TAB     &mo 2  &kp T  &kp RSHFT
            >;
        };

        ru {
            bindings = <
        &kp A  &kp E  &kp F   &kp DOT       &gr_minus     &kp I      &kp V  &kp Y   &kp R  &kp P
        &kp Z  &kp B  &kp J   &kp T         &gr_dot_ru    &kp U      &kp N  &kp H   &kp D  &kp X
&trans  &kp Q  &kp S  &kp M   &gr_comma_ru  &kp GRAVE     &kp COMMA  &kp L  &kp K   &kp G  &kp SEMICOLON  &trans
                      &trans  &trans        &trans        &trans     &kp C  &trans
            >;
        };

        Sym {
            label = "Sym";
            bindings = <
        &kp LS(N5)        &kp RA(L)         &kp EQUAL      &kp LS(RA(L))  &gr_minus      &kp RA(LS(N7))  &kp LPAR             &kp RPAR             &kp RA(N7)          &kp RA(BSLH)
        &hml LEFT_GUI N8  &hml LALT N7      &hml LCTRL N6  &hml LSHFT N0  &gr_dot_en     &kp RA(LS(N8))  &hmr RSHFT NUMBER_1  &hmr LCTRL NUMBER_2  &hmr LALT NUMBER_3  &hmr LEFT_GUI NUMBER_4
&trans  &kp RA(N6)        &kp RA(NUMBER_4)  &kp N9         &kp EXCL       &gr_slash      &kp RA(MINUS)   &kp RA(N1)           &kp N5               &kp RA(NUMBER_4)    &kp LS(NUMBER_2)        &trans
                                            &kp RA(COMMA)  &lt 4 SPACE    &kp RA(DOT)    &tog 2          &sl3_locky           &sk LSHFT
            >;
        };

        Sym2 {
            bindings = <
                  &kp RA(Q)    &kp RA(E)  &kp RA(F)  &kp RA(P)       &kp RA(I)               &kp RA(X)         &kp RA(A)             &kp RA(Y)         &kp RA(R)  &kp RA(V)
                  &kp RA(H)    &kp RA(B)  &kp RA(J)  &kp RA(LS(N6))  &kp RA(SLASH)           &kp RA(U)         &kp RA(NUMBER_5)      &kp RA(C)         &kp RA(W)  &kp RA(K)
&kp C_PLAY_PAUSE  &kp RA(SQT)  &kp RA(S)  &kp RA(O)  &kp RA(Z)       &kp RA(LS(NUMBER_4))    &kp LS(RA(SEMI))  &kp RA(LS(NUMBER_3))  &kp RA(NUMBER_3)  &kp RA(D)  &kp RA(EQUAL)  &kp C_PP
                                          &sk LSHFT  &trans          &trans                  &tog 3            &trans                &sk RSHFT
            >;
        };

        nav_layer {
            label = "NAVI";
            bindings = <
        &kp F1        &kp F8        &kp F4         &kp F3         &swapper    &kp DELETE     &kp HOME        &kp UP_ARROW    &kp END          &kp PAGE_UP
        &hml LGUI F9  &hml LALT F7  &hml LCTRL F6  &hml LSHFT F5  &kp INS     &kp BACKSPACE  &kp LEFT_ARROW  &kp DOWN_ARROW  &kp RIGHT_ARROW  &kp PG_DN
&trans  &lt 6 F10     &kp F11       &kp F12        &kp F2         &tabber     &kp ESC        &kp LC(HOME)    &kp ENTER       &kp LC(END)      &lt 6 PRINTSCREEN  &trans
                                    &trans         &trans         &trans      &tog 4         &sk LEFT_GUI    &sk LSHFT
            >;
        };

        adj {
            label = "adj";
            bindings = <
        &bootloader   &bt BT_SEL 3  &bt BT_SEL 2  &bt BT_SEL 1      &bt BT_SEL 0         &kp C_MUTE       &kp F3  &kp F4  &kp F9  &kp F10
        &kp LEFT_GUI  &kp LALT      &kp LCTRL     &kp LSHFT         &kp C_VOLUME_DOWN    &kp C_VOLUME_UP  &kp F2  &kp F5  &kp F8  &kp F11
&trans  &bt BT_CLR    &out OUT_BLE  &out OUT_USB  &kp C_PLAY_PAUSE  &kp C_PREV           &kp C_NEXT       &kp F1  &kp F6  &kp F7  &kp F12  &trans
                                    &trans        &trans            &trans               &trans           &trans  &trans
            >;

            display-name = "Adjust";
        };

        khronkite {
            label = "khrnkt";
            bindings = <
        &kp LG(LA(Q))  &kp LA(LG(O))  &kp LS(LG(K))  &kp LA(LG(R))  &kp LA(LG(T))    &kp LG(F)             &kp LS(LA(F8))    &kp LS(LA(F9))    &kp LS(LA(F10))   &kp LS(LA(F11))
        &kp LA(LG(F))  &kp LS(LG(H))  &kp LS(LG(J))  &kp LS(LG(L))  &kp LA(LG(Y))    &kp LS(LG(UP_ARROW))  &kp LC(F1)        &kp LC(F2)        &kp LC(F3)        &kp LC(F4)
&trans  &trans         &kp LC(LG(K))  &kp LC(LG(H))  &kp LG(LC(L))  &kp LG(D)        &kp LS(LG(DOWN))      &kp LG(NUMBER_1)  &kp LG(NUMBER_2)  &kp LG(NUMBER_3)  &kp LG(NUMBER_4)  &trans
                                      &kp LG(ENTER)  &trans         &kp LG(J)        &trans                &trans            &kp LG(ENTER)
            >;
        };

        Shortcuts {
            bindings = <
        &kp LS(DEL)    &kp LC(W)  &kp LC(LS(I))  &kp LS(LC(R))  &kp LC(T)    &kp LC(MINUS)  &kp LC(D)      &kp LC(N)          &kp LS(LC(M))  &kp LC(MINUS)
        &kp LS(LC(K))  &kp LC(L)  &kp LC(S)      &kp LC(A)      &kp LC(F)    &kp LC(EQUAL)  &kp LC(P)      &kp LS(LA(LC(E)))  &kp LC(O)      &kp LC(PLUS)
&trans  &kp LA(F8)     &kp LA(Z)  &kp LC(G)      &kp LC(R)      &kp LC(H)    &kp LC(B)      &kp LC(I)      &kp LC(U)          &kp LS(LC(X))  &kp LC(Q)      &trans
                                  &trans         &trans         &trans       &kp LC(LALT)   &kp LC(LS(V))  &kp LC(V)
            >;
        };

        Mouse {
            bindings = <
        &trans        &sk LC(LALT)  &sk LS(LA(LCTRL))  &sk LS(LCTRL)  &trans    &msc SCRL_UP    &mkp LCLK       &mmv MOVE_UP    &mkp RCLK        &trans
        &kp LEFT_GUI  &kp LALT      &sk LCTRL          &sk LSHFT      &trans    &msc SCRL_DOWN  &mmv MOVE_LEFT  &mmv MOVE_DOWN  &mmv MOVE_RIGHT  &trans
&trans  &mo 8         &trans        &trans             &trans         &trans    &trans          &msc SCRL_LEFT  &mkp MCLK       &msc SCRL_RIGHT  &trans  &trans
                                    &trans             &trans         &trans    &trans          &trans          &trans
            >;
        };

        Fadein {
            bindings = <
        &trans  &trans  &trans   &trans     &trans               &trans          &trans          &trans  &trans  &trans
        &trans  &trans  &trans   &en_tenge  &en_mngt             &en_emdash      &en_endash      &trans  &trans  &trans
&trans  &trans  &trans  &trans   &en_quex   &trans               &en_hyperminus  &en_figuredash  &trans  &trans  &trans  &trans
                        &en_rdq  &en_ldq    &spaced_en_emdash    &trans          &trans          &trans
            >;
        };

        Fadeinru {
            bindings = <
        &trans  &trans  &trans   &trans     &trans               &trans          &trans          &trans  &trans  &trans
        &trans  &trans  &trans   &ru_tenge  &ru_mngt             &ru_emdash      &ru_endash      &trans  &trans  &trans
&trans  &trans  &trans  &trans   &ru_quex   &trans               &ru_hypenminus  &ru_figuredash  &trans  &trans  &trans  &trans
                        &ru_rdq  &ru_ldq    &spaced_ru_emdash    &trans          &trans          &trans
            >;
        };

        unicode {
            bindings = <
        &kp RA(Q)    &kp RA(E)  &kp RA(F)  &kp RA(P)  &kp RA(I)               &kp RA(D)  &kp RA(A)  &kp RA(Y)         &kp RA(R)      &kp RA(V)
        &kp RA(H)    &kp RA(B)  &kp RA(J)  &kp LSHFT  &kp RS(RA(NUMBER_6))    &kp RA(U)  &kp LSHFT  &kp RA(C)         &kp RA(W)      &kp RA(K)
&trans  &kp RA(SQT)  &kp RA(S)  &kp RA(O)  &kp RA(Z)  &kp RA(LS(NUMBER_3))    &kp RA(G)  &kp BSPC   &kp RA(NUMBER_8)  &kp RA(SLASH)  &kp RA(EQUAL)  &trans
                                &trans     &trans     &trans                  &trans     &trans     &trans
            >;
        };
    };
};
